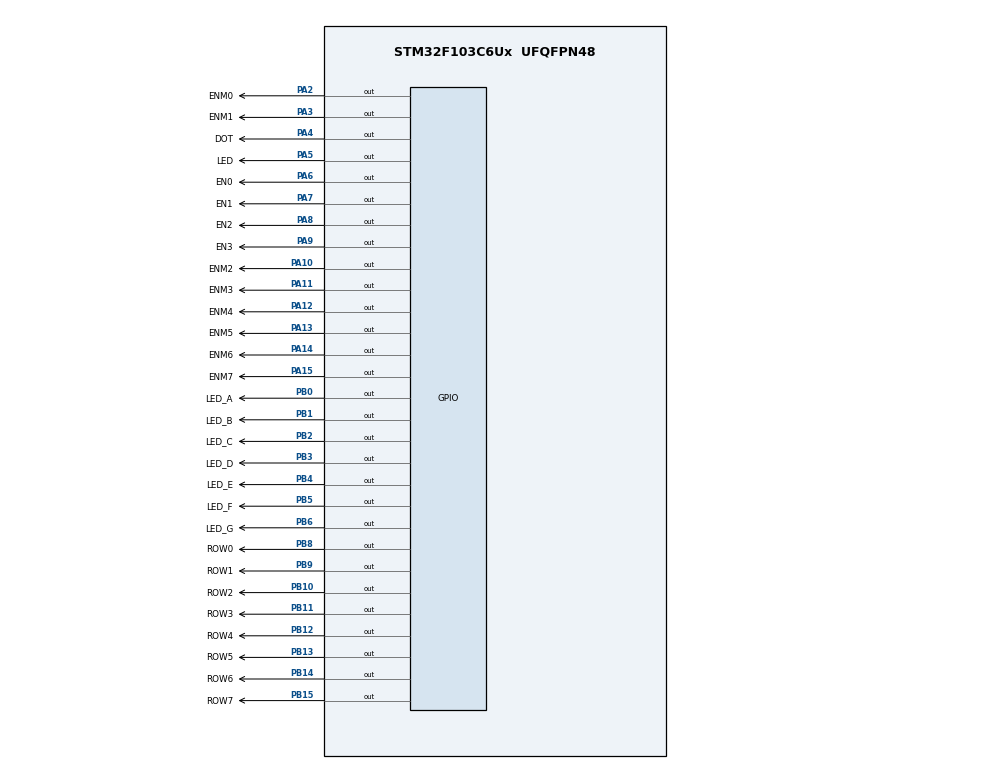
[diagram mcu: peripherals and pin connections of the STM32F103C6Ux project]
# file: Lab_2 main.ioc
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Mcu.Family=STM32F1
Mcu.Name=STM32F103C6Ux
Mcu.Package=UFQFPN48
NVIC.PriorityGroup=NVIC_PRIORITYGROUP_4
NVIC.TIM2_IRQn=true\:0\:0\:false\:false\:true\:true\:true
PA10.GPIO_Label=ENM2
PA10.Signal=GPIO_Output
PA11.GPIO_Label=ENM3
PA11.Signal=GPIO_Output
PA12.GPIO_Label=ENM4
PA12.Signal=GPIO_Output
PA13.GPIO_Label=ENM5
PA13.Signal=GPIO_Output
PA14.GPIO_Label=ENM6
PA14.Signal=GPIO_Output
PA15.GPIO_Label=ENM7
PA15.Signal=GPIO_Output
PA2.GPIO_Label=ENM0
PA2.Signal=GPIO_Output
PA3.GPIO_Label=ENM1
PA3.Signal=GPIO_Output
PA4.GPIO_Label=DOT
PA4.Signal=GPIO_Output
PA5.GPIO_Label=LED
PA5.Signal=GPIO_Output
PA6.GPIO_Label=EN0
PA6.Signal=GPIO_Output
PA7.GPIO_Label=EN1
PA7.Signal=GPIO_Output
PA8.GPIO_Label=EN2
PA8.Signal=GPIO_Output
PA9.GPIO_Label=EN3
PA9.Signal=GPIO_Output
PB0.GPIO_Label=LED_A
PB0.Signal=GPIO_Output
PB1.GPIO_Label=LED_B
PB1.Signal=GPIO_Output
PB10.GPIO_Label=ROW2
PB10.Signal=GPIO_Output
PB11.GPIO_Label=ROW3
PB11.Signal=GPIO_Output
PB12.GPIO_Label=ROW4
PB12.Signal=GPIO_Output
PB13.GPIO_Label=ROW5
PB13.Signal=GPIO_Output
PB14.GPIO_Label=ROW6
PB14.Signal=GPIO_Output
PB15.GPIO_Label=ROW7
PB15.Signal=GPIO_Output
PB2.GPIO_Label=LED_C
PB2.Signal=GPIO_Output
PB3.GPIO_Label=LED_D
PB3.Signal=GPIO_Output
PB4.GPIO_Label=LED_E
PB4.Signal=GPIO_Output
PB5.GPIO_Label=LED_F
PB5.Signal=GPIO_Output
PB6.GPIO_Label=LED_G
PB6.Signal=GPIO_Output
PB8.GPIO_Label=ROW0
PB8.Signal=GPIO_Output
PB9.GPIO_Label=ROW1
PB9.Signal=GPIO_Output
ProjectManager.HeapSize=0x200
ProjectManager.StackSize=0x400
ProjectManager.TargetToolchain=STM32CubeIDE
RCC.APB1Freq_Value=8000000
RCC.APB2Freq_Value=8000000
TIM2.Period=9
TIM2.Prescaler=799
VP_SYS_VS_ND.Mode=No_Debug
VP_TIM2_VS_ClockSourceINT.Mode=Internal
board=custom

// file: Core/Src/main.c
/* USER CODE BEGIN Header */
/**
  ******************************************************************************
  * @file           : main.c
  * @brief          : Main program body
  ******************************************************************************
  * @attention
  *
  * <h2><center>&copy; Copyright (c) 2023 STMicroelectronics.
  * All rights reserved.</center></h2>
  *
  * This software component is licensed by ST under BSD 3-Clause license,
  * the "License"; You may not use this file except in compliance with the
  * License. You may obtain a copy of the License at:
  *                        opensource.org/licenses/BSD-3-Clause
  *
  ******************************************************************************
  */
/* USER CODE END Header */
#include "main.h"

/* USER CODE BEGIN Includes */
#include "softwareTimer.h"
#include "display_7seg.h"
#include "update7SEG.h"
#include "matrix.h"
/* USER CODE END Includes */

/* USER CODE BEGIN PD */
#define DURATON 250
/* USER CODE END PD */

TIM_HandleTypeDef htim2;

void SystemClock_Config(void);
static void MX_GPIO_Init(void);
static void MX_TIM2_Init(void);

int main(void)
{

  /* MCU Configuration--------------------------------------------------------*/

  /* Reset of all peripherals, Initializes the Flash interface and the Systick. */
  HAL_Init();

  /* Configure the system clock */
  SystemClock_Config();

  /* Initialize all configured peripherals */
  MX_GPIO_Init();
  MX_TIM2_Init();
  /* USER CODE BEGIN 2 */
  HAL_TIM_Base_Start_IT(&htim2);
  /* USER CODE END 2 */

  /* Infinite loop */
  /* USER CODE BEGIN WHILE */
  setTimer1(DURATON);
  setTimer2(2000);
  HAL_GPIO_WritePin(EN0_GPIO_Port, EN0_Pin, SET);
  HAL_GPIO_WritePin(EN1_GPIO_Port, EN1_Pin, SET);
  HAL_GPIO_WritePin(EN2_GPIO_Port, EN2_Pin, SET);
  HAL_GPIO_WritePin(EN3_GPIO_Port, EN3_Pin, SET);
  HAL_GPIO_WritePin(DOT_GPIO_Port, DOT_Pin, SET);
  int idx = 0;
  while (1)
  {
    /* USER CODE END WHILE */
	  if (timer1_flag == 1){
	  		  setTimer1(DURATON);
	  		  reset_matrix();
	  		  set_row();
	  		  if (idx >= 8) idx = 0;

	  		  updateLEDMatrix(idx);
	  		  idx++;
	  }
	  if (timer2_flag == 1){
		  setTimer2(2000);
		  shift_matrix();
	  }
  }
}

void SystemClock_Config(void)
{
  RCC_OscInitTypeDef RCC_OscInitStruct = {0};
  RCC_ClkInitTypeDef RCC_ClkInitStruct = {0};

  /** Initializes the RCC Oscillators according to the specified parameters
  * in the RCC_OscInitTypeDef structure.
  */
  RCC_OscInitStruct.OscillatorType = RCC_OSCILLATORTYPE_HSI;
  RCC_OscInitStruct.HSIState = RCC_HSI_ON;
  RCC_OscInitStruct.HSICalibrationValue = RCC_HSICALIBRATION_DEFAULT;
  RCC_OscInitStruct.PLL.PLLState = RCC_PLL_NONE;
  if (HAL_RCC_OscConfig(&RCC_OscInitStruct) != HAL_OK)
  {
    Error_Handler();
  }
  /** Initializes the CPU, AHB and APB buses clocks
  */
  RCC_ClkInitStruct.ClockType = RCC_CLOCKTYPE_HCLK|RCC_CLOCKTYPE_SYSCLK
                              |RCC_CLOCKTYPE_PCLK1|RCC_CLOCKTYPE_PCLK2;
  RCC_ClkInitStruct.SYSCLKSource = RCC_SYSCLKSOURCE_HSI;
  RCC_ClkInitStruct.AHBCLKDivider = RCC_SYSCLK_DIV1;
  RCC_ClkInitStruct.APB1CLKDivider = RCC_HCLK_DIV1;
  RCC_ClkInitStruct.APB2CLKDivider = RCC_HCLK_DIV1;

  if (HAL_RCC_ClockConfig(&RCC_ClkInitStruct, FLASH_LATENCY_0) != HAL_OK)
  {
    Error_Handler();
  }
}

static void MX_TIM2_Init(void)
{

  TIM_ClockConfigTypeDef sClockSourceConfig = {0};
  TIM_MasterConfigTypeDef sMasterConfig = {0};

  htim2.Instance = TIM2;
  htim2.Init.Prescaler = 799;
  htim2.Init.CounterMode = TIM_COUNTERMODE_UP;
  htim2.Init.Period = 9;
  htim2.Init.ClockDivision = TIM_CLOCKDIVISION_DIV1;
  htim2.Init.AutoReloadPreload = TIM_AUTORELOAD_PRELOAD_DISABLE;
  if (HAL_TIM_Base_Init(&htim2) != HAL_OK)
  {
    Error_Handler();
  }
  sClockSourceConfig.ClockSource = TIM_CLOCKSOURCE_INTERNAL;
  if (HAL_TIM_ConfigClockSource(&htim2, &sClockSourceConfig) != HAL_OK)
  {
    Error_Handler();
  }
  sMasterConfig.MasterOutputTrigger = TIM_TRGO_RESET;
  sMasterConfig.MasterSlaveMode = TIM_MASTERSLAVEMODE_DISABLE;
  if (HAL_TIMEx_MasterConfigSynchronization(&htim2, &sMasterConfig) != HAL_OK)
  {
    Error_Handler();
  }

}

static void MX_GPIO_Init(void)
{
  GPIO_InitTypeDef GPIO_InitStruct = {0};

  /* GPIO Ports Clock Enable */
  __HAL_RCC_GPIOA_CLK_ENABLE();
  __HAL_RCC_GPIOB_CLK_ENABLE();

  /*Configure GPIO pin Output Level */
  HAL_GPIO_WritePin(GPIOA, ENM0_Pin|ENM1_Pin|DOT_Pin|LED_Pin
                          |EN0_Pin|EN1_Pin|EN2_Pin|EN3_Pin
                          |ENM2_Pin|ENM3_Pin|ENM4_Pin|ENM5_Pin
                          |ENM6_Pin|ENM7_Pin, GPIO_PIN_RESET);

  /*Configure GPIO pin Output Level */
  HAL_GPIO_WritePin(GPIOB, LED_A_Pin|LED_B_Pin|LED_C_Pin|ROW2_Pin
                          |ROW3_Pin|ROW4_Pin|ROW5_Pin|ROW6_Pin
                          |ROW7_Pin|LED_D_Pin|LED_E_Pin|LED_F_Pin
                          |LED_G_Pin|ROW0_Pin|ROW1_Pin, GPIO_PIN_RESET);

  /*Configure GPIO pins : ENM0_Pin ENM1_Pin DOT_Pin LED_Pin
                           EN0_Pin EN1_Pin EN2_Pin EN3_Pin
                           ENM2_Pin ENM3_Pin ENM4_Pin ENM5_Pin
                           ENM6_Pin ENM7_Pin */
  GPIO_InitStruct.Pin = ENM0_Pin|ENM1_Pin|DOT_Pin|LED_Pin
                          |EN0_Pin|EN1_Pin|EN2_Pin|EN3_Pin
                          |ENM2_Pin|ENM3_Pin|ENM4_Pin|ENM5_Pin
                          |ENM6_Pin|ENM7_Pin;
  GPIO_InitStruct.Mode = GPIO_MODE_OUTPUT_PP;
  GPIO_InitStruct.Pull = GPIO_NOPULL;
  GPIO_InitStruct.Speed = GPIO_SPEED_FREQ_LOW;
  HAL_GPIO_Init(GPIOA, &GPIO_InitStruct);

  /*Configure GPIO pins : LED_A_Pin LED_B_Pin LED_C_Pin ROW2_Pin
                           ROW3_Pin ROW4_Pin ROW5_Pin ROW6_Pin
                           ROW7_Pin LED_D_Pin LED_E_Pin LED_F_Pin
                           LED_G_Pin ROW0_Pin ROW1_Pin */
  GPIO_InitStruct.Pin = LED_A_Pin|LED_B_Pin|LED_C_Pin|ROW2_Pin
                          |ROW3_Pin|ROW4_Pin|ROW5_Pin|ROW6_Pin
                          |ROW7_Pin|LED_D_Pin|LED_E_Pin|LED_F_Pin
                          |LED_G_Pin|ROW0_Pin|ROW1_Pin;
  GPIO_InitStruct.Mode = GPIO_MODE_OUTPUT_PP;
  GPIO_InitStruct.Pull = GPIO_NOPULL;
  GPIO_InitStruct.Speed = GPIO_SPEED_FREQ_LOW;
  HAL_GPIO_Init(GPIOB, &GPIO_InitStruct);

}

/* USER CODE BEGIN 4 */
void HAL_TIM_PeriodElapsedCallback(TIM_HandleTypeDef *htim){
	timer1Run();
	timer2Run();
}
/* USER CODE END 4 */

void Error_Handler(void)
{
  __disable_irq();
  while (1)
  {
  }
}

/************************ (C) COPYRIGHT STMicroelectronics *****END OF FILE****/
